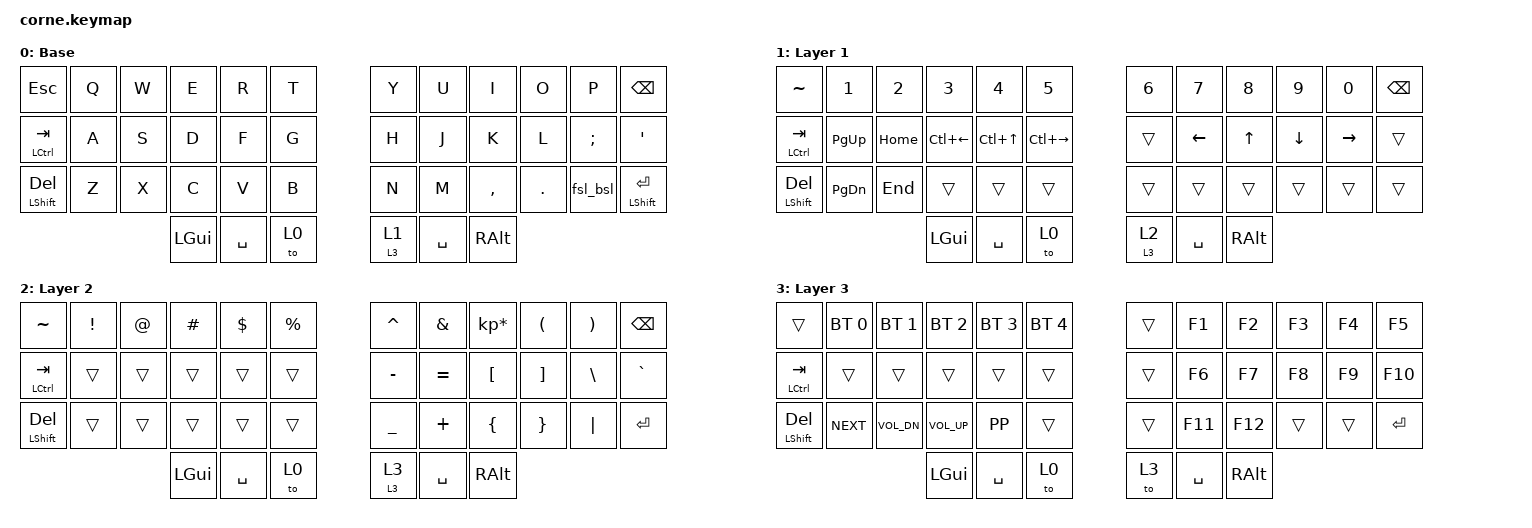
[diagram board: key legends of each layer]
/*
 * Copyright (c) 2020 The ZMK Contributors
 *
 * SPDX-License-Identifier: MIT
 */

#include <behaviors.dtsi>
#include <dt-bindings/zmk/keys.h>
#include <dt-bindings/zmk/bt.h>

#define DEFAULT 0
#define LAYER1   1
#define LAYER2   2
#define LAYER3   3
/* todo
- figure out where to put BT_CLR
- for L1 add a mod layer shift, if tap layer 1, if held engage layer 3
*/


//special behaviors
/ {
    behaviors {
        lt_lh: layer_tap_layer_hold {
                compatible = "zmk,behavior-hold-tap";
                label = "LAYER_TAP_LAYER_HOLD";
                #binding-cells = <2>;
                bindings = <&mo>, <&to>;
                flavor = "tap-preferred";
                quick-tap-ms = <125>;
                tapping-term-ms = <200>;
        };
        gresc: grave_escape {
            compatible = "zmk,behavior-mod-morph";
            #binding-cells = <0>;
            bindings = <&kp ESC>, <&kp GRAVE>;
            mods = <(MOD_LGUI|MOD_LSFT|MOD_RGUI|MOD_RSFT)>;
        };
        fsl_bsl: forward_backward_slash {
            compatible = "zmk,behavior-mod-morph";
            #binding-cells = <0>;
            bindings = <&kp FSLH>, <&kp BSLH>;
            mods = <(MOD_LCTL|MOD_RCTL)>;
        };
    };
};

/ {
        keymap {
                compatible = "zmk,keymap";

                default_layer {
// -----------------------------------------------------------------------------------------
// | esc |  Q  |  W  |  E  |  R  |  T  |   |  Y  |  U   |  I  |  O  |  P  | BKSP |
// | ctrl/tab |  A  |  S  |  D  |  F  |  G  |   |  H  |  J   |  K  |  L  |  ;  |  '   |
// | shft/DEL|  Z  |  X  |  C  |  V  |  B  |   |  N  |  M   |  ,  |  .  |  /  | LST/RET|
//                    | GUI | SPC | L0 |   | L1 | SPC  | ALT |
                        display-name = "Base";
                        bindings = <
   &kp ESC   &kp Q &kp W &kp E &kp R &kp T   &kp Y &kp U  &kp I     &kp O   &kp P    &kp BSPC
   &mt LCTRL TAB &kp A &kp S &kp D &kp F &kp G   &kp H &kp J  &kp K     &kp L   &kp SEMI &kp SQT
   &mt LSHFT DEL &kp Z &kp X &kp C &kp V &kp B   &kp N &kp M  &kp COMMA &kp DOT &fsl_bsl &mt LSHFT RET
                  &kp LGUI &kp SPACE &to 0    &lt_lh 3 1 &kp SPACE &kp RALT
                        >;
                };
                LAYER1 {
// -----------------------------------------------------------------------------------------
// |  ~   |  1  |  2  |  3  |  4  |  5        |   |  6  |  7  |  8  |  9  |  0  | BKSP |
// | ctrl/tab |PgUp|Home|LtDesk|AllDesk|RtDesk|   |     | Left|  UP | RGT |Home |      |
// | shft/DEL |PgDn|End |     |     |         |   |     |     |Down |  .  |End  | RET  |
//                    | GUI | SPC | L0  |   |  L2 | SPC | ALT |
                        display-name = "Layer 1";
                        bindings = <
   &kp TILDE      &kp N1      &kp N2     &kp N3       &kp N4     &kp N5         &kp N6  &kp N7   &kp N8   &kp N9    &kp N0    &kp BSPC
   &mt LCTRL TAB  &kp PG_UP   &kp HOME   &kp LC(LEFT) &kp LC(UP) &kp LC(RIGHT)  &trans  &kp LEFT &kp UP   &kp DOWN  &kp RIGHT &trans
   &mt LSHFT DEL  &kp PG_DN   &kp END    &trans       &trans     &trans         &trans  &trans   &trans   &trans    &trans    &trans
                    &kp LGUI     &kp SPACE    &to 0  &lt_lh 3 2  &kp SPACE  &kp RALT
                        >;
                };

                LAYER2 {
// -----------------------------------------------------------------------------------------
// |  ~   |  !  |  @  |  #  |  $  |  %  |   |  ^  |  &  |  *  |  (  |  )  | BKSP |
// | ctrl/tab  |     |     |     |     |     |   |  -  |  =  |  [  |  ]  |  \  |  `   |
// | shft/DEL  |     |     |     |     |     |   |  _  |  +  |  {  |  }  | "|" |  RET |
//                    | GUI | SPC | L0  |   |  L3 | SPC | ALT |
                        display-name = "Layer 2";
                        bindings = <
   &kp TILDE  &kp EXCL &kp AT &kp HASH &kp DLLR &kp PRCNT   &kp CARET &kp AMPS  &kp KP_MULTIPLY &kp LPAR &kp RPAR &kp BSPC
   &mt LCTRL TAB &trans   &trans &trans   &trans   &trans      &kp MINUS &kp EQUAL &kp LBKT        &kp RBKT &kp BSLH &kp GRAVE
   &mt LSHFT DEL &trans   &trans &trans   &trans   &trans      &kp UNDER &kp PLUS  &kp LBRC        &kp RBRC &kp PIPE &kp RET
                    &kp LGUI     &kp SPACE    &to 0  &lt_lh 3 3 &kp SPACE  &kp RALT
                        >;
                };

                LAYER3 {
// -----------------------------------------------------------------------------------------
// |      | BT1 | BT2 | BT3 | BT4 | BT5 |   |     |  F1 |  F2 |  F3 |  F4 | F5   |
// |ctrl/tab|     |     |     |     |   |   |     |  F6 |  F7 |  F8 |  F9 | F10  |
// |shft/DEL|     |MNext| Vol-|Vol+ |     |   |     |  F11|  F12|     |     | RET  |
//                    | GUI | SPC | L0  |   |     | SPC | ALT |
                        display-name = "Layer 3";
                        bindings = <
   &trans &bt BT_SEL 0 &bt BT_SEL 1 &bt BT_SEL 2 &bt BT_SEL 3 &bt BT_SEL 4         &trans  &kp F1   &kp F2   &kp F3   &kp F4   &kp F5   
   &mt LCTRL TAB    &trans   &trans   &trans   &trans   &trans        &trans  &kp F6   &kp F7   &kp F8   &kp F9   &kp F10   
   &mt LSHFT DEL  &kp K_NEXT &kp C_VOL_DN   &kp C_VOL_UP &kp K_PP &trans        &trans  &kp F11   &kp F12   &trans   &trans   &kp RET   
                    &kp LGUI     &kp SPACE    &to 0  &to 3  &kp SPACE  &kp RALT
                        >;
                };
        };
};
